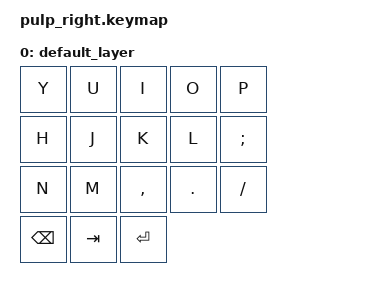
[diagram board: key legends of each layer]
#include <behaviors.dtsi>
#include <dt-bindings/zmk/keys.h>
#include <dt-bindings/zmk/pointing.h>

/ {

    keymap {
        compatible = "zmk,keymap";
        
        default_layer {
            bindings = <
                &kp Y       &kp U       &kp I       &kp O       &kp P

                &kp H       &kp J       &kp K       &kp L       &kp SEMI

                &kp N       &kp M       &kp COMMA   &kp DOT     &kp FSLH

                &kp BSPC   &kp TAB     &kp ENTER
            >;

        };
    };
};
